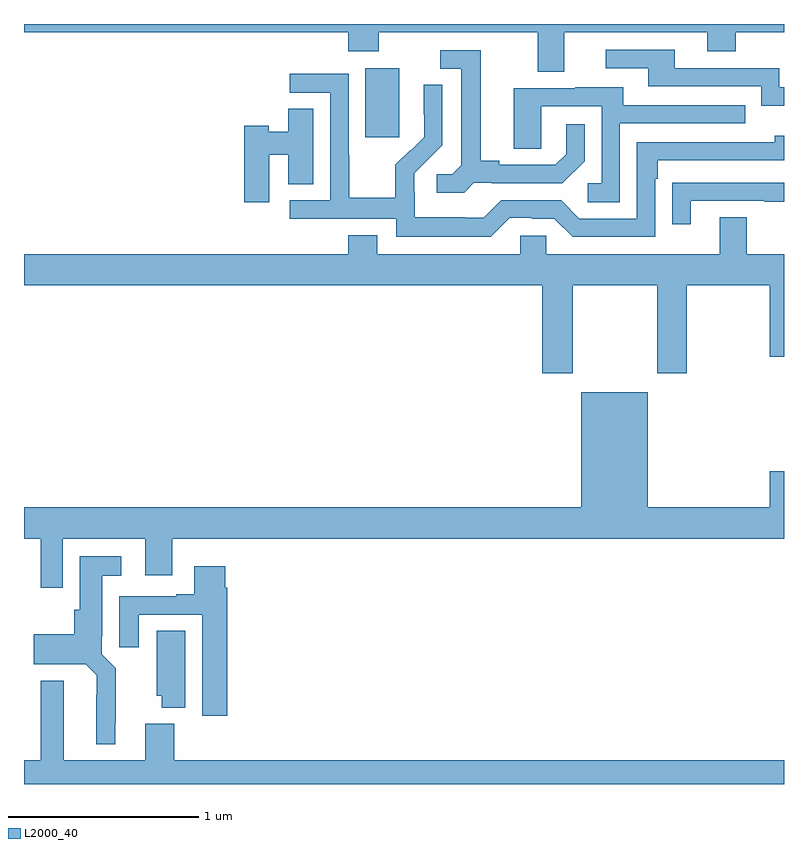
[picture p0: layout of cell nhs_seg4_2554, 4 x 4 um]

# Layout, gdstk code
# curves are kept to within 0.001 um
import gdstk
lib = gdstk.Library(unit=1e-6, precision=1e-09)
def R(c, l, rs):  # rectangles x0, y0, x1, y1
    for r in rs: c.add(gdstk.rectangle(r[:2], r[2:], *l))
def P(c, l, *ps):  # polygons
    for p in ps: c.add(gdstk.Polygon(p, *l))
L2000_40 = (2000, 40)

nhs_seg4_2554 = lib.new_cell('nhs_seg4_2554')
R(nhs_seg4_2554, L2000_40, [(246.797,760.305,246.976,760.666)])
P(nhs_seg4_2554, L2000_40, [(247.843,760.856),(248.597,760.856),(248.597,760.757),(248.745,760.757),(248.745,760.856),(249,760.856),(249,760.9),(245,760.9),(245,760.856),(246.707,760.856),(246.707,760.757),(246.867,760.757),(246.867,760.856),(247.703,760.856),(247.703,760.648),(247.843,760.648)],
  [(249,760.566),(248.976,760.566),(248.976,760.668),(248.425,760.668),(248.425,760.764),(248.061,760.764),(248.061,760.668),(248.285,760.668),(248.285,760.572),(248.88,760.572),(248.88,760.469),(249,760.469)],
  [(247.368,760.065),(247.462,760.065),(247.462,760.062),(247.834,760.062),(247.95,760.178),(247.95,760.372),(247.853,760.372),(247.853,760.215),(247.796,760.158),(247.501,760.158),(247.501,760.181),(247.405,760.181),(247.405,760.761),(247.191,760.761),(247.191,760.665),(247.301,760.665),(247.301,760.157),(247.254,760.11),(247.173,760.11),(247.173,760.013),(247.316,760.013)],
  [(247.557,759.879),(247.673,759.879),(247.673,759.876),(247.791,759.876),(247.887,759.78),(248.322,759.78),(248.322,760.085),(248.335,760.085),(248.335,760.182),(249,760.182),(249,760.312),(248.951,760.312),(248.951,760.278),(248.226,760.278),(248.226,759.876),(247.923,759.876),(247.827,759.972),(247.512,759.972),(247.419,759.879),(247.319,759.879),(247.319,759.883),(247.056,759.883),(247.056,760.017),(247.054,760.017),(247.054,760.114),(247.2,760.262),(247.2,760.58),(247.104,760.58),(247.104,760.426),(247.106,760.426),(247.106,760.304),(247.035,760.233),(247.032,760.236),(246.955,760.159),(246.955,759.985),(246.711,759.985),(246.711,760.208),(246.708,760.208),(246.708,760.638),(246.399,760.638),(246.399,760.539),(246.612,760.539),(246.612,759.972),(246.399,759.972),(246.399,759.876),(246.96,759.876),(246.96,759.779),(247.457,759.779)],
  [(248.136,760.377),(248.795,760.377),(248.795,760.473),(248.155,760.473),(248.155,760.567),(247.901,760.567),(247.901,760.563),(247.577,760.563),(247.577,760.243),(247.722,760.243),(247.722,760.467),(248.04,760.467),(248.04,760.062),(247.968,760.062),(247.968,759.961),(248.136,759.961)],
  [(246.292,760.211),(246.392,760.211),(246.392,760.057),(246.523,760.057),(246.523,760.454),(246.392,760.454),(246.392,760.333),(246.288,760.333),(246.288,760.364),(246.158,760.364),(246.158,759.963),(246.292,759.963)],
  [(248.509,759.969),(248.899,759.969),(248.899,759.964),(249,759.964),(249,760.065),(248.515,760.065),(248.515,760.064),(248.413,760.064),(248.413,759.846),(248.509,759.846)],
  [(247.887,759.524),(248.332,759.524),(248.332,759.063),(248.487,759.063),(248.487,759.524),(248.924,759.524),(248.924,759.15),(249,759.15),(249,759.688),(248.803,759.688),(248.803,759.883),(248.663,759.883),(248.663,759.688),(247.749,759.688),(247.749,759.786),(247.611,759.786),(247.611,759.688),(246.859,759.688),(246.859,759.787),(246.707,759.787),(246.707,759.688),(245,759.688),(245,759.524),(247.727,759.524),(247.727,759.063),(247.887,759.063)],
  [(245.205,758.192),(245.639,758.192),(245.639,757.998),(245.779,757.998),(245.779,758.192),(249,758.192),(249,758.545),(248.924,758.545),(248.924,758.356),(248.284,758.356),(248.284,758.962),(247.934,758.962),(247.934,758.356),(245,758.356),(245,758.192),(245.089,758.192),(245.089,757.932),(245.205,757.932)],
  [(245.479,757.219),(245.483,757.219),(245.483,757.51),(245.409,757.584),(245.409,757.678),(245.413,757.678),(245.413,757.997),(245.512,757.997),(245.512,758.098),(245.294,758.098),(245.294,757.818),(245.264,757.818),(245.264,757.687),(245.052,757.687),(245.052,757.529),(245.325,757.529),(245.382,757.472),(245.381,757.109),(245.479,757.109)],
  [(246.071,757.934),(246.058,757.934),(246.058,758.047),(245.897,758.047),(245.897,757.9),(245.801,757.9),(245.801,757.887),(245.501,757.887),(245.501,757.62),(245.605,757.62),(245.605,757.791),(245.939,757.791),(245.939,757.26),(246.071,757.26)],
  [(245.848,757.706),(245.699,757.706),(245.699,757.365),(245.726,757.365),(245.726,757.301),(245.848,757.301)],
  [(249,757.024),(245.792,757.024),(245.792,757.216),(245.639,757.216),(245.639,757.024),(245.209,757.024),(245.209,757.444),(245.087,757.444),(245.087,757.024),(245,757.024),(245,756.9),(249,756.9)])

lib.write_gds('nhs_seg4_2554.gds')
